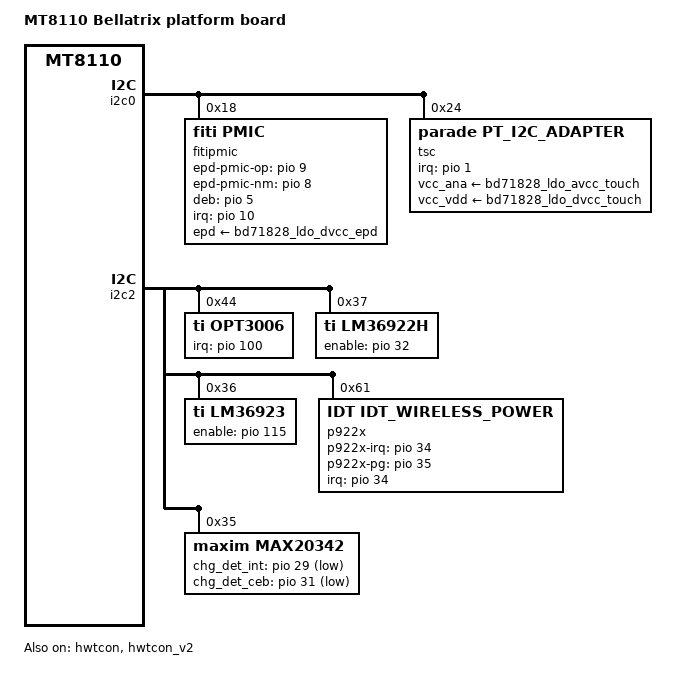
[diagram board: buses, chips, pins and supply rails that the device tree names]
/*
 * Copyright (c) 2020 Amazon.com Inc.
 *
 * SPDX-License-Identifier: (GPL-2.0 OR MIT)
 */

/dts-v1/;

#include "mt8110-bellatrix.dtsi"

/ {
	model = "MT8110 Bellatrix platform board";
};
&i2c0 {
	fitipmic: fiti@18 {
		compatible = "fiti,pmic";
		reg = <0x18>;
		vgh_ext = <0>;
		vgl_ext = <0>;
		xon_len = <2510>;
		xon_delay = <0>;
		vgh = <28000>;
		vgl = <20000>;
		vcom_setting = <1400>;
		vghnm_setting = <2900>;
		vghnm_ext = <1500>;
		vpos = <15000>;
		vneg = <15000>;
		epd-pmic-en = <&bd71828 1 0>;
		epd-pmic-op = <&pio 9 0>;
		epd-pmic-nm = <&pio 8 0>;
		interrupt-parent = <&pio>;
		interrupts = <10 IRQ_TYPE_LEVEL_HIGH>;
		deb-gpios = <&pio 5 0>;
		debounce = <16>;
		epd-supply = <&bd71828_ldo_dvcc_epd>;
		pinctrl-names = "active", "inactive";
		pinctrl-0 = <&fiti_pins_active>;
		pinctrl-1 = <&fiti_pins_inactive>;
		status = "okay";
	};

	tsc@24 {
		compatible = "parade,pt_i2c_adapter";
		pinctrl-names = "default", "sleep";
		pinctrl-0 = <&touch_sensor_pins_default>;
		pinctrl-1 = <&touch_sensor_pins_sleep>;
		reg = <0x24>;

		/* GPIO 1, high-to-low edge triggered */
		interrupts = <1 2>;
		interrupt-parent = <&pio>;
		parade,adapter_id = "pt_i2c_adapter";
		vcc_ana-supply = <&bd71828_ldo_avcc_touch>;
		vcc_vdd-supply = <&bd71828_ldo_dvcc_touch>;

		parade,core {
			parade,name = "pt_core";

			parade,irq_gpio = <&pio 1 0>;
			parade,rst_gpio = <&pio 0 0>;
			parade,hid_desc_register = <1>;
			/*CY_CORE_FLAG_RESTORE_PARAMETERS | PT_CORE_FLAG_POWEROFF_ON_SLEEP*/
			parade,flags = <6>;
			/* CY_CORE_EWG_NONE */
			parade,easy_wakeup_gesture = <0>;
			/* 0:AUTO 1:PIP1_ONLY 2:PIP2_CAPABLE */
			parade,config_dut_generation = <0>;
			/* 0:False 1:True*/
			parade,watchdog_force_stop = <0>;
			/* Firmare Board Prefix */
			parade,fw_board_prefix = "malbec";

			parade,mt {
				parade,name = "pt_mt";

				parade,inp_dev_name = "pt_mt";
	/* CY_MT_FLAG_FLIP | CY_MT_FLAG_INV_X */
				parade,flags = <0x18>;
				parade,abs =
	/* ABS_MT_POSITION_X, CY_ABS_MIN_X, CY_ABS_MAX_X, 0, 0 */
					<0x35 0 1236 0 0
	/* ABS_MT_POSITION_Y, CY_ABS_MIN_Y, CY_ABS_MAX_Y, 0, 0 */
					0x36 0 1648 0 0
	/* ABS_MT_PRESSURE, CY_ABS_MIN_P, CY_ABS_MAX_P, 0, 0 */
					0x3a 0 255 0 0
	/* CY_IGNORE_VALUE, CY_ABS_MIN_W, CY_ABS_MAX_W, 0, 0 */
					0xffff 0 255 0 0
	/* ABS_MT_TRACKING_ID, CY_ABS_MIN_T, CY_ABS_MAX_T, 0, 0 */
					0x39 0 15 0 0
	/* ABS_MT_TOUCH_MAJOR, 0, 255, 0, 0 */
					0x30 0 255 0 0
	/* ABS_MT_TOUCH_MINOR, 0, 255, 0, 0 */
					0xffff 0 255 0 0
	/* ABS_MT_ORIENTATION, -127, 127, 0, 0 */
					0xffff 0xffffff81 127 0 0
	/* ABS_MT_TOOL_TYPE, 0, MT_TOOL_MAX, 0, 0 */
					0xffff 0 1 0 0
	/* ABS_MT_DISTANCE, 0, 255, 0, 0 */
					0x3b 0 255 0 0>;

				parade,vkeys_x = <720>;
				parade,vkeys_y = <1280>;

				parade,virtual_keys =
				/* KeyCode CenterX CenterY Width Height */
					/* KEY_BACK */
					<158 1360 90 160 180
					/* KEY_MENU */
					139 1360 270 160 180
					/* KEY_HOMEPAGE */
					172 1360 450 160 180
					/* KEY SEARCH */
					217 1360 630 160 180>;
			};
		};
	};

};

&i2c2 {
	opt3006@44 {
		compatible = "ti,opt3006";
		pinctrl-names = "default", "sleep";
		pinctrl-0 = <&opt3006_pins_default>;
		pinctrl-1 = <&opt3006_pins_default>;
		reg = <0x44>;
		interrupt-parent = <&pio>;
		interrupts = <100 IRQ_TYPE_EDGE_FALLING>;
	};

	/*white*/
	lm36922h@37 {
		compatible = "ti,lm36922h";
		pinctrl-names = "default", "sleep";
		pinctrl-0 = <&lm36922h_pins>;
		pinctrl-1 = <&lm36922h_pins>;
		reg = <0x37>;
		enable-gpios = <&pio 32 GPIO_ACTIVE_HIGH>;

		bl@0{
			label = "lm36922h-bl";
			reg=<0>;
			frontlight=<0>;
		};
	};

	/*Amber*/
	lm36923@36 {
		compatible = "ti,lm36923";
		pinctrl-names = "default", "sleep";
		pinctrl-0 = <&lm36923_pins>;
		pinctrl-1 = <&lm36923_pins>;
		reg = <0x36>;
		enable-gpios = <&pio 115 GPIO_ACTIVE_HIGH>;

		bl@0{
			label = "lm36923-bl";
			reg=<0>;
			frontlight=<1>;
		};
	};

	p922x@61 {
		compatible = "IDT,idt_wireless_power";
		reg = <0x61>;
		interrupt-parent = <&pio>;
		interrupts = <34 IRQ_TYPE_EDGE_FALLING 35 IRQ_TYPE_EDGE_RISING>;

		wpc-mivr = <4500000 4500000>;
		wpc-switch-voltage = <4500 5000 5500 8500 9000 9500>;
		bpp-5w-fod = /bits/ 8 <151 47 148 33 149 23 148 21
					148 21 149 21 254 127 0 0>;
		bpp-10w-fod = /bits/ 8 <254 127 254 127 254 127 254 127
					254 127 254 127 254 127 0 0>;

		pinctrl-names = "wpc_en_default", "wpc_en0", "wpc_en1",
					"sleep_en_default", "sleep_en0", "sleep_en1";
		pinctrl-0 = <&wpc_en_default>;
		pinctrl-1 = <&wpc_en0>;
		pinctrl-2 = <&wpc_en1>;
		pinctrl-3 = <&sleep_en_default>;
		pinctrl-4 = <&sleep_en0>;
		pinctrl-5 = <&sleep_en1>;

		p922x-irq = <&pio 34 0>;
		p922x-pg = <&pio 35 0>;

		wpc-hardware-config = <1>;
		status = "okay";
	};

	max20342: max20342@35 {
		compatible = "maxim,max20342";
		interrupt-parent = <&pio>;
		interrupt-controller;
		pinctrl-names = "default";
		pinctrl-0 = <&max20342_chg_det_pins_default>;
		chg_det_int = <&pio 29 GPIO_ACTIVE_LOW>;
		chg_det_ceb = <&pio 31 GPIO_ACTIVE_LOW>;
		reg = <0x35>;
		status = "okay";
	};
};

&hwtcon {
	status = "okay";
	pinctrl-names = "active","inactive";
	pinctrl-0 = <&hwtcon_pins_active>;
	pinctrl-1 = <&hwtcon_pins_inactive>;
	epd{
		panel_dpi_clk = <60000000>;
		panel_width = <1648>;
		panel_height = <1236>;
		panel_area_w = <140>;
		panel_area_h = <105>;
		panel_waveform_type = <4>;
		panel_output_8bit = <0>;
		panel_tcon0 = <6 1242 41 51 0 1 0 0>;
		panel_tcon1 = <6 1242 7 27 0 0 0 0>;
		panel_tcon2 = <5 1244 7 7 4 0 1 7>;
		panel_tcon3 = <1 1246 57 497 0 0 0 0>;
		panel_tcon4 = <0 0 0 0 0 0 0 0>;
		panel_tcon5 = <2 3 256 280 4 1 1 7>;
		panel_dpi = <10 60 7 2 5 4 1>;
		panel_material_type = <4>;
		panel_rotate = <3>;
		modify_wf_mode_counter = <800>;
		status = "okay";
	};
};

&hwtcon_v2 {
	status = "okay";
	pinctrl-names = "active","inactive";
	pinctrl-0 = <&hwtcon_pins_active>;
	pinctrl-1 = <&hwtcon_pins_inactive>;
	epd{
		panel_dpi_clk = <60000000>;
		panel_width = <1648>;
		panel_height = <1236>;
		panel_area_w = <140>;
		panel_area_h = <105>;
		panel_waveform_type = <4>;
		panel_output_8bit = <0>;
		panel_tcon0 = <5 1241 41 51 0 1 0 0>;
		panel_tcon1 = <5 1241 7 27 0 0 0 0>;
		panel_tcon2 = <4 1243 7 7 4 0 1 7>;
		panel_tcon3 = <1 1246 57 497 0 0 0 0>;
		panel_tcon4 = <1 2 7 7 4 1 1 7>;
		panel_tcon5 = <2 3 256 280 4 1 1 7>;
		panel_dpi = <10 60 7 2 6 3 1>;
		panel_material_type = <4>;
		panel_rotate = <3>;
		modify_wf_mode_counter = <800>;
		status = "okay";
	};
};

&pio {
	pinctrl-names = "default", "sleep";
	pinctrl-0 = <&unused_pin_default>;
	pinctrl-1 = <&unused_pin_sleep>;

	unused_pin_default: unusedpindefault {
		pins_touch_id {
			pinmux = <MT8512_PIN_26_USB_ID__FUNC_GPIO26>, /* Touch ID 1 */
				<MT8512_PIN_27_USB_DRV__FUNC_GPIO27>; /* Touch ID 0 */
			input-enable;
			bias-pull-up;
		};
	};

	unused_pin_sleep: unusedpinsleep {
		pins_touch_id {
			pinmux = <MT8512_PIN_26_USB_ID__FUNC_GPIO26>, /* Touch ID 1 */
				<MT8512_PIN_27_USB_DRV__FUNC_GPIO27>; /* Touch ID 0 */
			input-enable;
			bias-pull-down;
		};
	};

	touch_sensor_pins_default: touchsensordefault {
		pins_rst {
			pinmux = <MT8512_PIN_0_GPIO0__FUNC_GPIO0>;  /*TOUCH_RST*/
			input_disable;
			bias-pull-down;
		};
		pins_int {
			pinmux = <MT8512_PIN_1_GPIO1__FUNC_GPIO1>;  /*TOUCH_INT*/
			input-enable;
			bias-pull-up;
		};
	};

	opt3006_pins_default: opt3006_default {
		pins_cmd_dat {
			pinmux = <MT8512_PIN_100_DMIC0_DAT0__FUNC_GPIO100>;
			input-enable;
			bias-disable;
		};
	};

	touch_sensor_pins_sleep: touchsensorsleep {
		pins_rst {
			pinmux = <MT8512_PIN_0_GPIO0__FUNC_GPIO0>;  /*TOUCH_RST*/
			input-disable;
			bias-pull-down;
		};
		pins_int {
			pinmux = <MT8512_PIN_1_GPIO1__FUNC_GPIO1>;  /*TOUCH_INT*/
			input-enable;
			bias-pull-down;
		};
	};

	lm36922h_pins: lm36922h_pins {
		pins_cmd_dat {
			pinmux = <MT8512_PIN_32_FL_EN__FUNC_GPIO32>;
			input-disable;
			bias-disable;
		};
	};

	lm36923_pins: lm36923_pins {
		pins_cmd_dat {
			pinmux = <MT8512_PIN_115_SPI_MOSI__FUNC_GPIO115>;
			input-disable;
			bias-disable;
		};
	};

	wpc_en_default: wpc_en_default {
		pins_cmd_dat {
			pinmux = <MT8512_PIN_34_SOC2WAN_RESET__FUNC_GPIO34>;
			input-enable;
			bias-pull-up;
		};
	};

	wpc_en0: wpc_en0 {
		pins_cmd_dat {
			pinmux = <MT8512_PIN_34_SOC2WAN_RESET__FUNC_GPIO34>;
			input-enable;
			bias-pull-up;
		};
	};

	wpc_en1: wpc_en1 {
		pins_cmd_dat {
			pinmux = <MT8512_PIN_34_SOC2WAN_RESET__FUNC_GPIO34>;
			input-enable;
			bias-pull-up;
		};
	};

	sleep_en_default: sleep_en_default {
		pins_cmd_dat {
			pinmux = <MT8512_PIN_35_WAN_FM_RDY__FUNC_GPIO35>;
			input-enable;
			bias-pull-down;
		};
	};

	sleep_en0: sleep_en0 {
		pins_cmd_dat {
			pinmux = <MT8512_PIN_35_WAN_FM_RDY__FUNC_GPIO35>;
			input-enable;
			bias-pull-down;
		};
	};

	sleep_en1: sleep_en1 {
		pins_cmd_dat {
			pinmux = <MT8512_PIN_35_WAN_FM_RDY__FUNC_GPIO35>;
			input-enable;
			bias-pull-down;
		};
	};

	max20342_chg_det_pins_default: max20342_chg_det_pins_default {
		pins_cmd_dat {
			pinmux = <MT8512_PIN_29_CHG_IRQ__FUNC_GPIO29>,
					<MT8512_PIN_31_CHG_CEB__FUNC_GPIO31>;
			input-enable;
			bias-disable;
		};
	};
};
